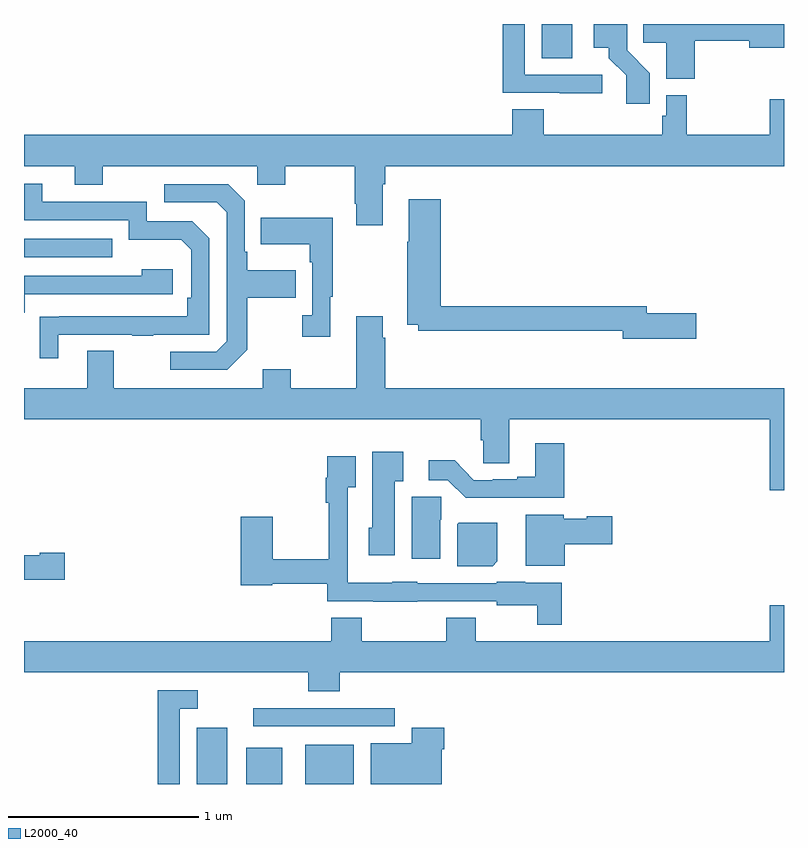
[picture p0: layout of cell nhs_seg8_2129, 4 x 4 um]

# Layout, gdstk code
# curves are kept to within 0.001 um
import gdstk
lib = gdstk.Library(unit=1e-6, precision=1e-09)
def R(c, l, rs):  # rectangles x0, y0, x1, y1
    for r in rs: c.add(gdstk.rectangle(r[:2], r[2:], *l))
def P(c, l, *ps):  # polygons
    for p in ps: c.add(gdstk.Polygon(p, *l))
L2000_40 = (2000, 40)

nhs_seg8_2129 = lib.new_cell('nhs_seg8_2129')
R(nhs_seg8_2129, L2000_40, [(245.909,1127.9,246.07,1128.196), (246.17,1127.9,246.358,1128.091), (246.479,1127.9,246.736,1128.106), (246.207,1128.204,246.952,1128.3), (245,1130.673,245.465,1130.769), (247.724,1131.72,247.885,1131.9)])
P(nhs_seg8_2129, L2000_40, [(248.531,1131.811),(248.816,1131.811),(248.816,1131.776),(249,1131.776),(249,1131.898),(248.944,1131.898),(248.944,1131.9),(248.26,1131.9),(248.26,1131.802),(248.381,1131.802),(248.381,1131.611),(248.531,1131.611)],
  [(248.044,1131.633),(247.635,1131.633),(247.635,1131.9),(247.519,1131.9),(247.519,1131.537),(247.819,1131.537),(247.819,1131.535),(248.044,1131.535)],
  [(248.294,1131.642),(248.175,1131.761),(248.175,1131.9),(247.998,1131.9),(247.998,1131.776),(248.078,1131.776),(248.078,1131.721),(248.169,1131.631),(248.169,1131.48),(248.294,1131.48)],
  [(246.889,1131.056),(246.902,1131.056),(246.902,1131.152),(249,1131.152),(249,1131.505),(248.924,1131.505),(248.924,1131.316),(248.488,1131.316),(248.488,1131.526),(248.379,1131.526),(248.379,1131.417),(248.359,1131.417),(248.359,1131.316),(247.736,1131.316),(247.736,1131.452),(247.571,1131.452),(247.571,1131.316),(245,1131.316),(245,1131.152),(245.267,1131.152),(245.267,1131.053),(245.415,1131.053),(245.415,1131.152),(246.228,1131.152),(246.228,1131.053),(246.375,1131.053),(246.375,1131.152),(246.742,1131.152),(246.742,1130.953),(246.749,1130.953),(246.749,1130.841),(246.889,1130.841)],
  [(245.179,1130.265),(245.569,1130.265),(245.569,1130.26),(245.681,1130.26),(245.681,1130.265),(245.976,1130.265),(245.976,1130.772),(245.886,1130.862),(245.646,1130.862),(245.646,1130.964),(245.095,1130.964),(245.095,1131.06),(245,1131.06),(245,1130.868),(245.55,1130.868),(245.55,1130.765),(245.827,1130.765),(245.88,1130.712),(245.88,1130.458),(245.86,1130.458),(245.86,1130.361),(245.083,1130.36),(245.083,1130.142),(245.179,1130.142)],
  [(246.175,1130.185),(246.175,1130.458),(246.431,1130.458),(246.431,1130.605),(246.175,1130.605),(246.175,1130.701),(246.162,1130.701),(246.162,1130.97),(246.075,1131.057),(245.739,1131.057),(245.739,1130.961),(246.015,1130.961),(246.066,1130.91),(246.066,1130.229),(246.012,1130.175),(245.769,1130.175),(245.769,1130.079),(246.069,1130.079)],
  [(248.539,1130.378),(248.278,1130.378),(248.278,1130.414),(247.193,1130.414),(247.193,1130.977),(247.025,1130.977),(247.025,1130.753),(247.018,1130.753),(247.018,1130.318),(247.074,1130.318),(247.074,1130.286),(248.15,1130.286),(248.15,1130.243),(248.539,1130.243)],
  [(246.613,1130.465),(246.625,1130.465),(246.625,1130.881),(246.247,1130.881),(246.247,1130.741),(246.504,1130.741),(246.504,1130.645),(246.516,1130.645),(246.516,1130.366),(246.465,1130.366),(246.465,1130.253),(246.613,1130.253)],
  [(245.005,1130.478),(245.782,1130.478),(245.782,1130.608),(245.621,1130.608),(245.621,1130.574),(245,1130.574),(245,1130.381),(245.005,1130.381)],
  [(249,1129.984),(246.902,1129.984),(246.902,1130.249),(246.889,1130.249),(246.889,1130.362),(246.749,1130.362),(246.749,1129.984),(246.405,1129.984),(246.405,1130.083),(246.257,1130.083),(246.257,1129.984),(245.473,1129.984),(245.473,1130.179),(245.333,1130.179),(245.333,1129.984),(245,1129.984),(245,1129.82),(247.403,1129.82),(247.403,1129.71),(247.416,1129.71),(247.416,1129.588),(247.555,1129.588),(247.555,1129.82),(248.924,1129.82),(248.924,1129.446),(249,1129.446)],
  [(247.844,1129.693),(247.691,1129.693),(247.691,1129.516),(247.595,1129.516),(247.595,1129.503),(247.468,1129.503),(247.468,1129.5),(247.368,1129.5),(247.266,1129.603),(247.131,1129.603),(247.131,1129.5),(247.23,1129.5),(247.325,1129.406),(247.844,1129.406)],
  [(246.952,1129.494),(246.997,1129.494),(246.997,1129.648),(246.833,1129.648),(246.833,1129.248),(246.815,1129.248),(246.815,1129.104),(246.952,1129.104)],
  [(247.829,1128.958),(247.638,1128.958),(247.638,1128.964),(247.488,1128.964),(247.488,1128.957),(247.071,1128.957),(247.071,1128.964),(246.939,1128.964),(246.939,1128.958),(246.705,1128.958),(246.705,1129.463),(246.745,1129.463),(246.745,1129.624),(246.597,1129.624),(246.597,1129.511),(246.589,1129.511),(246.589,1129.379),(246.604,1129.379),(246.604,1129.082),(246.31,1129.082),(246.31,1129.306),(246.14,1129.306),(246.14,1128.946),(246.306,1128.946),(246.306,1128.954),(246.597,1128.954),(246.597,1128.861),(246.839,1128.861),(246.839,1128.86),(247.071,1128.86),(247.071,1128.861),(247.488,1128.861),(247.488,1128.842),(247.701,1128.842),(247.701,1128.737),(247.829,1128.737)],
  [(247.192,1129.29),(247.196,1129.29),(247.196,1129.413),(247.04,1129.413),(247.04,1129.086),(247.192,1129.086)],
  [(247.846,1129.163),(248.095,1129.163),(248.095,1129.31),(247.962,1129.31),(247.962,1129.297),(247.842,1129.297),(247.842,1129.318),(247.64,1129.318),(247.64,1129.049),(247.846,1129.049)],
  [(247.492,1129.072),(247.492,1129.276),(247.288,1129.276),(247.28,1129.268),(247.28,1129.046),(247.466,1129.046)],
  [(245.215,1129.118),(245.082,1129.118),(245.082,1129.105),(245,1129.105),(245,1128.976),(245.215,1128.976)],
  [(246.662,1128.488),(249,1128.488),(249,1128.841),(248.924,1128.841),(248.924,1128.652),(247.377,1128.652),(247.377,1128.776),(247.222,1128.776),(247.222,1128.652),(246.777,1128.652),(246.777,1128.776),(246.617,1128.776),(246.617,1128.652),(245,1128.652),(245,1128.488),(246.497,1128.488),(246.497,1128.389),(246.662,1128.389)],
  [(245.82,1128.297),(245.914,1128.297),(245.914,1128.393),(245.704,1128.393),(245.704,1127.9),(245.82,1127.9)],
  [(247.198,1128.083),(247.211,1128.083),(247.211,1128.196),(247.04,1128.196),(247.04,1128.115),(246.824,1128.115),(246.824,1127.9),(247.198,1127.9)])

lib.write_gds('nhs_seg8_2129.gds')
